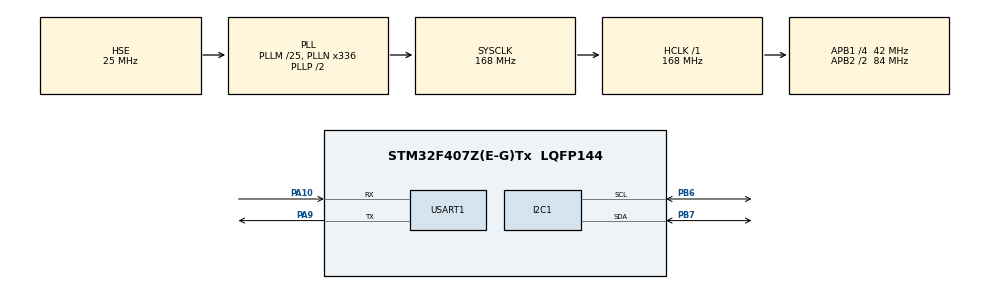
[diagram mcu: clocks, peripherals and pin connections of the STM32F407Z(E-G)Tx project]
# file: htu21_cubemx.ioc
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Mcu.Family=STM32F4
Mcu.Name=STM32F407Z(E-G)Tx
Mcu.Package=LQFP144
NVIC.PriorityGroup=NVIC_PRIORITYGROUP_4
PA10.Mode=Asynchronous
PA10.Signal=USART1_RX
PA9.Mode=Asynchronous
PA9.Signal=USART1_TX
PB6.Mode=I2C
PB6.Signal=I2C1_SCL
PB7.Mode=I2C
PB7.Signal=I2C1_SDA
PH0-OSC_IN.Mode=HSE-External-Oscillator
PH0-OSC_IN.Signal=RCC_OSC_IN
PH1-OSC_OUT.Mode=HSE-External-Oscillator
PH1-OSC_OUT.Signal=RCC_OSC_OUT
ProjectManager.HeapSize=0x200
ProjectManager.StackSize=0x400
ProjectManager.TargetToolchain=STM32CubeIDE
RCC.48MHZClocksFreq_Value=84000000
RCC.AHBFreq_Value=168000000
RCC.APB1CLKDivider=RCC_HCLK_DIV4
RCC.APB1Freq_Value=42000000
RCC.APB1TimFreq_Value=84000000
RCC.APB2CLKDivider=RCC_HCLK_DIV2
RCC.APB2Freq_Value=84000000
RCC.APB2TimFreq_Value=168000000
RCC.CortexFreq_Value=168000000
RCC.HCLKFreq_Value=168000000
RCC.HSE_VALUE=25000000
RCC.HSI_VALUE=16000000
RCC.LSE_VALUE=32768
RCC.PLLM=25
RCC.PLLN=336
RCC.PLLSourceVirtual=RCC_PLLSOURCE_HSE
RCC.SYSCLKFreq_VALUE=168000000
RCC.SYSCLKSource=RCC_SYSCLKSOURCE_PLLCLK
RCC.VCOOutputFreq_Value=336000000
USART1.VirtualMode=VM_ASYNC
board=custom

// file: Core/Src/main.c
/* USER CODE BEGIN Header */
/**
  ******************************************************************************
  * @file           : main.c
  * @brief          : Main program body
  ******************************************************************************
  * @attention
  *
  * Copyright (c) 2026 STMicroelectronics.
  * All rights reserved.
  *
  * This software is licensed under terms that can be found in the LICENSE file
  * in the root directory of this software component.
  * If no LICENSE file comes with this software, it is provided AS-IS.
  *
  ******************************************************************************
  */
/* USER CODE END Header */
#include "main.h"

/* USER CODE BEGIN Includes */
#include <stdio.h>
/* USER CODE END Includes */

/* USER CODE BEGIN PD */

#define HTU21_I2C_ADDR (0x40 << 1)

#define REG_RTEMP_READ_HOLD             0xE3
#define REG_RHUM_READ_HOLD              0xE5
#define REG_SOFT_RESET                  0xFE

//CRC error macros
#define CRC_MATCH               1
#define CRC_NOTMATCH            0

//CRC macros
#define CRC_POLYNOMIAL          0x131   // Generator Polynomial X^8 + X^5+ X^4+ 1
#define CRC_POLYNOMIAL_WIDTH    9
/* USER CODE END PD */

I2C_HandleTypeDef hi2c1;

UART_HandleTypeDef huart1;

void SystemClock_Config(void);
static void MX_GPIO_Init(void);
static void MX_I2C1_Init(void);
static void MX_USART1_UART_Init(void);

/* USER CODE BEGIN 0 */
#define hUART           huart1
int _write( int32_t file , uint8_t *ptr , int32_t len )
{
    /* Implement your write code here, this is used by puts and printf for example */
    for ( int16_t i = 0 ; i < len ; ++i )
    {
        HAL_UART_Transmit( &hUART, ptr++, 1, 100);
    }
    return len;
}

static int crc_check(uint16_t dt, uint8_t crc)
{
    uint16_t polynomial = CRC_POLYNOMIAL << (16 - CRC_POLYNOMIAL_WIDTH);
    uint16_t result = dt;
    uint16_t top_bit = 0x8000;

    for(int i=0;i<16;i++)
    {
        if(result & top_bit) result ^= polynomial;
        result <<= 1;
    }

    result >>= 8;

    return crc == result ? CRC_MATCH : CRC_NOTMATCH;
}
/* USER CODE END 0 */

int main(void)
{

  /* USER CODE BEGIN 1 */
	uint8_t reg;
    uint8_t data[3];
    uint16_t data_raw;
    uint8_t crc;
    int raw_value;
    HAL_StatusTypeDef status;
  /* USER CODE END 1 */

  /* MCU Configuration--------------------------------------------------------*/

  /* Reset of all peripherals, Initializes the Flash interface and the Systick. */
  HAL_Init();

  /* Configure the system clock */
  SystemClock_Config();

  /* Initialize all configured peripherals */
  MX_GPIO_Init();
  MX_I2C1_Init();
  MX_USART1_UART_Init();
  /* USER CODE BEGIN 2 */
  printf("I2C-HTU21 test\r\n");

  HAL_Delay(1000);
  reg = REG_SOFT_RESET;
  status = HAL_I2C_Master_Transmit(&hi2c1, HTU21_I2C_ADDR, &reg, 1, 1000);
  if(status != HAL_OK)
  {
	  printf("status = %d\r\n", status);
  }
  HAL_Delay(300);
  /* USER CODE END 2 */

  /* Infinite loop */
  /* USER CODE BEGIN WHILE */
  while (1)
  {
	  HAL_Delay(1000);
		reg = REG_RTEMP_READ_HOLD;
		status = HAL_I2C_Master_Transmit(&hi2c1, HTU21_I2C_ADDR, &reg, 1, 1000);
		if(status != HAL_OK)
		{
		  printf("status = %d\r\n", status);
		}
		status = HAL_I2C_Master_Receive(&hi2c1, HTU21_I2C_ADDR, data, 3, 1000);
		if(status != HAL_OK)
		{
		  printf("status = %d\r\n", status);
		}
		data_raw = (data[0] << 8) | data[1];
		crc = data[2];
		if(crc_check(data_raw, crc) == CRC_MATCH)
		{
			data_raw &= 0xFFFC;
			raw_value = ((17572 * data_raw) >> 16) - 4685;

			printf("TEMP=%d.%d°C\r\n", raw_value / 100, raw_value % 100);
		}

		reg = REG_RHUM_READ_HOLD;
		status = HAL_I2C_Master_Transmit(&hi2c1, HTU21_I2C_ADDR, &reg, 1, 1000);
		if(status != HAL_OK)
		{
		  printf("status = %d\r\n", status);
		}
		status = HAL_I2C_Master_Receive(&hi2c1, HTU21_I2C_ADDR, data, 3, 1000);
		if(status != HAL_OK)
		{
		  printf("status = %d\r\n", status);
		}
		data_raw = (data[0] << 8) | data[1];
		crc = data[2];
		if(crc_check(data_raw, crc) == CRC_MATCH)
		{
			data_raw &= 0xFFFC;
			raw_value = ((125 * data_raw) >> 16) - 6;

			printf("HUMID=%d%%\r\n", raw_value);
		}
    /* USER CODE END WHILE */

  }
}

void SystemClock_Config(void)
{
  RCC_OscInitTypeDef RCC_OscInitStruct = {0};
  RCC_ClkInitTypeDef RCC_ClkInitStruct = {0};

  /** Configure the main internal regulator output voltage
  */
  __HAL_RCC_PWR_CLK_ENABLE();
  __HAL_PWR_VOLTAGESCALING_CONFIG(PWR_REGULATOR_VOLTAGE_SCALE1);

  /** Initializes the RCC Oscillators according to the specified parameters
  * in the RCC_OscInitTypeDef structure.
  */
  RCC_OscInitStruct.OscillatorType = RCC_OSCILLATORTYPE_HSE;
  RCC_OscInitStruct.HSEState = RCC_HSE_ON;
  RCC_OscInitStruct.PLL.PLLState = RCC_PLL_ON;
  RCC_OscInitStruct.PLL.PLLSource = RCC_PLLSOURCE_HSE;
  RCC_OscInitStruct.PLL.PLLM = 25;
  RCC_OscInitStruct.PLL.PLLN = 336;
  RCC_OscInitStruct.PLL.PLLP = RCC_PLLP_DIV2;
  RCC_OscInitStruct.PLL.PLLQ = 4;
  if (HAL_RCC_OscConfig(&RCC_OscInitStruct) != HAL_OK)
  {
    Error_Handler();
  }

  /** Initializes the CPU, AHB and APB buses clocks
  */
  RCC_ClkInitStruct.ClockType = RCC_CLOCKTYPE_HCLK|RCC_CLOCKTYPE_SYSCLK
                              |RCC_CLOCKTYPE_PCLK1|RCC_CLOCKTYPE_PCLK2;
  RCC_ClkInitStruct.SYSCLKSource = RCC_SYSCLKSOURCE_PLLCLK;
  RCC_ClkInitStruct.AHBCLKDivider = RCC_SYSCLK_DIV1;
  RCC_ClkInitStruct.APB1CLKDivider = RCC_HCLK_DIV4;
  RCC_ClkInitStruct.APB2CLKDivider = RCC_HCLK_DIV2;

  if (HAL_RCC_ClockConfig(&RCC_ClkInitStruct, FLASH_LATENCY_5) != HAL_OK)
  {
    Error_Handler();
  }
}

static void MX_I2C1_Init(void)
{

  hi2c1.Instance = I2C1;
  hi2c1.Init.ClockSpeed = 100000;
  hi2c1.Init.DutyCycle = I2C_DUTYCYCLE_2;
  hi2c1.Init.OwnAddress1 = 0;
  hi2c1.Init.AddressingMode = I2C_ADDRESSINGMODE_7BIT;
  hi2c1.Init.DualAddressMode = I2C_DUALADDRESS_DISABLE;
  hi2c1.Init.OwnAddress2 = 0;
  hi2c1.Init.GeneralCallMode = I2C_GENERALCALL_DISABLE;
  hi2c1.Init.NoStretchMode = I2C_NOSTRETCH_DISABLE;
  if (HAL_I2C_Init(&hi2c1) != HAL_OK)
  {
    Error_Handler();
  }

}

static void MX_USART1_UART_Init(void)
{

  huart1.Instance = USART1;
  huart1.Init.BaudRate = 115200;
  huart1.Init.WordLength = UART_WORDLENGTH_8B;
  huart1.Init.StopBits = UART_STOPBITS_1;
  huart1.Init.Parity = UART_PARITY_NONE;
  huart1.Init.Mode = UART_MODE_TX_RX;
  huart1.Init.HwFlowCtl = UART_HWCONTROL_NONE;
  huart1.Init.OverSampling = UART_OVERSAMPLING_16;
  if (HAL_UART_Init(&huart1) != HAL_OK)
  {
    Error_Handler();
  }

}

static void MX_GPIO_Init(void)
{

  /* GPIO Ports Clock Enable */
  __HAL_RCC_GPIOH_CLK_ENABLE();
  __HAL_RCC_GPIOA_CLK_ENABLE();
  __HAL_RCC_GPIOB_CLK_ENABLE();

}

void Error_Handler(void)
{
  __disable_irq();
  while (1)
  {
  }
}
